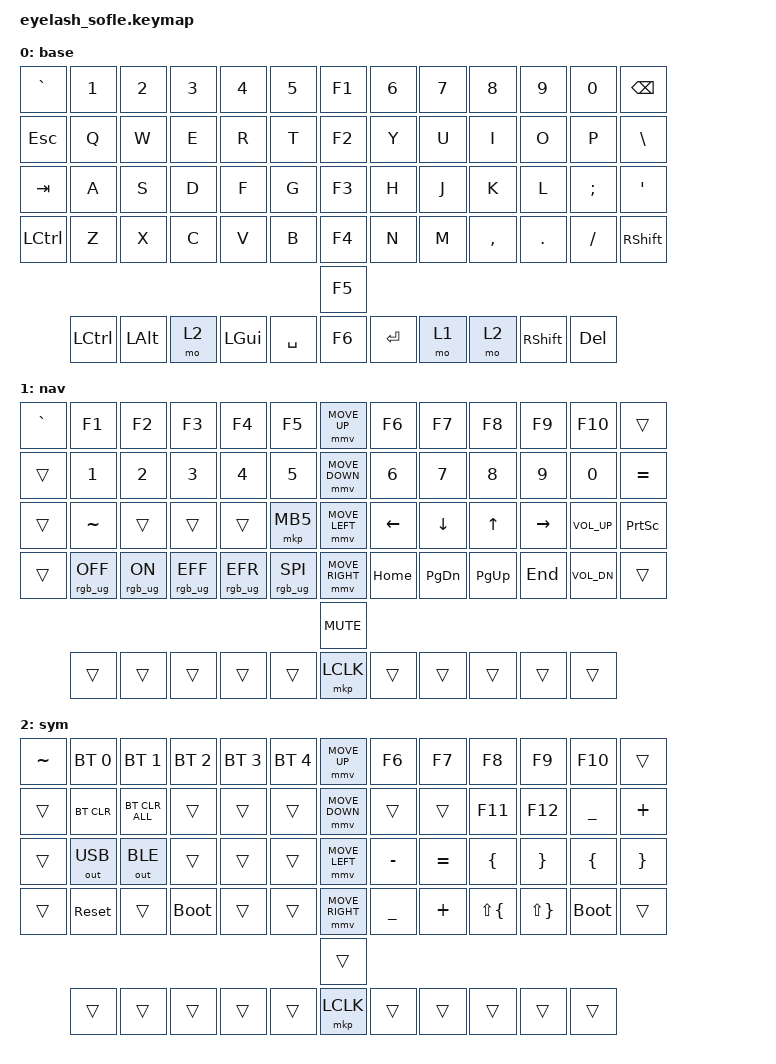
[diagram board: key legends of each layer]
#include <input/processors.dtsi>
#include <zephyr/dt-bindings/input/input-event-codes.h>
#include <behaviors.dtsi>
#include <dt-bindings/zmk/bt.h>
#include <dt-bindings/zmk/keys.h>
#include <dt-bindings/zmk/outputs.h>
#include <dt-bindings/zmk/pointing.h>
#include <dt-bindings/zmk/rgb.h>

/ {
    keymap {
        compatible = "zmk,keymap";

        default_layer {
            bindings = <
&kp GRAVE   &kp N1     &kp N2        &kp N3        &kp N4           &kp N5      &kp F1  &kp N6     &kp N7     &kp N8     &kp N9           &kp N0      &kp BACKSPACE
&kp ESC     &kp Q      &kp W         &kp E         &kp R            &kp T       &kp F2  &kp Y      &kp U      &kp I      &kp O            &kp P       &kp BSLH
&kp TAB     &kp A      &kp S         &kp D         &kp F            &kp G       &kp F3  &kp H      &kp J      &kp K      &kp L            &kp SEMI    &kp APOS
&kp LCTRL   &kp Z      &kp X         &kp C         &kp V            &kp B       &kp F4  &kp N      &kp M      &kp COMMA  &kp DOT          &kp FSLH    &kp RSHIFT
                                                                                &kp F5
            &kp LCTRL  &kp LEFT_ALT  &mo 2         &kp LEFT_GUI     &kp SPACE   &kp F6  &kp ENTER  &mo 1      &mo 2      &kp RSHIFT       &kp DELETE
            >;

            display-name = "base";
        };

        nav_layer {
            bindings = <
&kp GRAVE   &kp F1           &kp F2          &kp F3           &kp F4           &kp F5             &mmv MOVE_UP     &kp F6           &kp F7           &kp F8      &kp F9     &kp F10       &trans
&trans      &kp N1           &kp N2          &kp N3           &kp N4           &kp N5             &mmv MOVE_DOWN   &kp N6           &kp N7           &kp N8      &kp N9     &kp N0        &kp EQUAL
&trans      &kp TILDE        &trans          &trans           &trans           &mkp MB5           &mmv MOVE_LEFT   &kp LEFT         &kp DOWN         &kp UP      &kp RIGHT  &kp K_VOL_UP  &kp PSCRN
&trans      &rgb_ug RGB_OFF  &rgb_ug RGB_ON  &rgb_ug RGB_EFF  &rgb_ug RGB_EFR  &rgb_ug RGB_SPI    &mmv MOVE_RIGHT  &kp HOME         &kp PG_DN        &kp PG_UP   &kp END    &kp K_VOL_DN  &trans
&kp C_MUTE  &trans           &trans          &trans           &trans           &trans             &mkp LCLK        &trans           &trans           &trans      &trans     &trans
            >;

            display-name = "nav";
        };

        sym_layer {
            bindings = <
&kp TILDE  &bt BT_SEL 0  &bt BT_SEL 1    &bt BT_SEL 2  &bt BT_SEL 3  &bt BT_SEL 4    &mmv MOVE_UP     &kp F6    &kp F7    &kp F8       &kp F9       &kp F10      &trans
&trans     &bt BT_CLR    &bt BT_CLR_ALL  &trans        &trans        &trans          &mmv MOVE_DOWN   &trans    &trans    &kp F11      &kp F12      &kp UNDER    &kp PLUS
&trans     &out OUT_USB  &out OUT_BLE    &trans        &trans        &trans          &mmv MOVE_LEFT   &kp MINUS &kp EQUAL &kp LBRC     &kp RBRC     &kp LBRC     &kp RBRC
&trans     &sys_reset    &trans          &bootloader   &trans        &trans          &mmv MOVE_RIGHT  &kp UNDER &kp PLUS  &kp LS(LBRC) &kp LS(RBRC) &bootloader  &trans
&trans     &trans        &trans          &trans        &trans        &trans          &mkp LCLK        &trans    &trans    &trans       &trans       &trans
            >;

            display-name = "sym";
        };
    };
};



